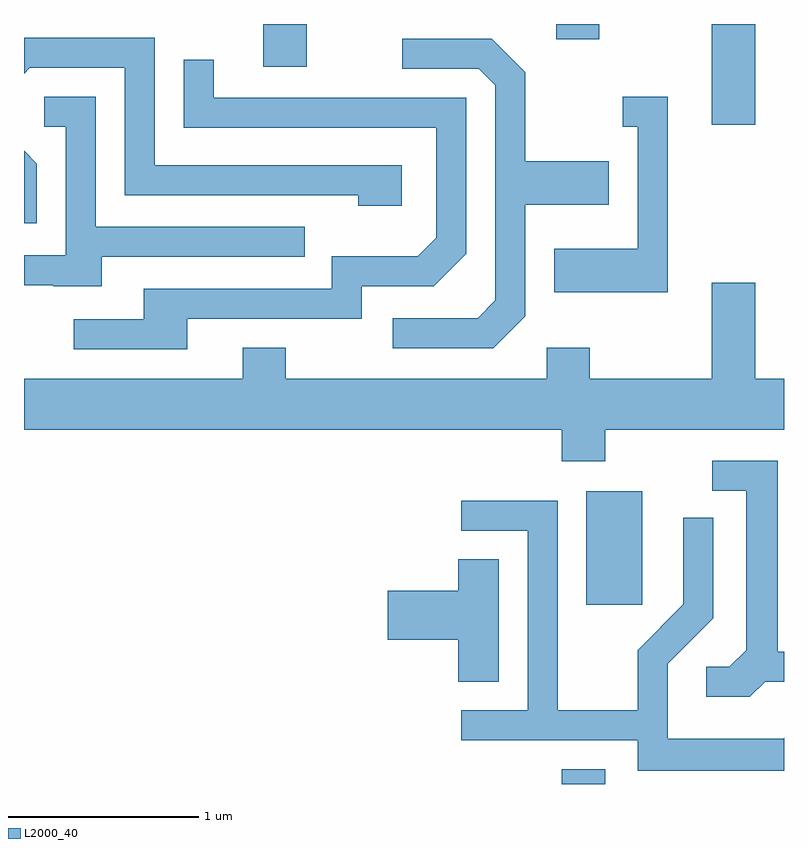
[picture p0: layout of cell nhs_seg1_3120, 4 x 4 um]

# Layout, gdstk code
import gdstk
lib = gdstk.Library(unit=1e-6, precision=1e-09)
def R(c, l, rs):  # rectangles x0, y0, x1, y1
    for r in rs: c.add(gdstk.rectangle(r[:2], r[2:], *l))
def P(c, l, *ps):  # polygons
    for p in ps: c.add(gdstk.Polygon(p, *l))
L2000_40 = (2000, 40)

nhs_seg1_3120 = lib.new_cell('nhs_seg1_3120')
R(nhs_seg1_3120, L2000_40, [(282.441,897.712,282.669,897.789), (282.571,898.656,282.864,899.254), (283.231,901.181,283.459,901.712), (280.871,901.486,281.099,901.712), (282.411,901.631,282.639,901.712)])
P(nhs_seg1_3120, L2000_40, [(281.599,900.969),(280.299,900.969),(280.299,901.639),(279.611,901.639),(279.611,901.45),(279.642,901.481),(280.141,901.481),(280.141,900.811),(281.371,900.811),(281.371,900.756),(281.599,900.756)],
  [(282.249,900.174),(282.249,900.761),(282.689,900.761),(282.689,900.989),(282.249,900.989),(282.249,901.457),(282.072,901.634),(281.603,901.634),(281.603,901.476),(282.004,901.476),(282.091,901.389),(282.091,900.257),(281.999,900.164),(281.553,900.164),(281.553,900.006),(282.082,900.006)],
  [(280.469,900.161),(281.389,900.161),(281.389,900.331),(281.767,900.331),(281.939,900.504),(281.939,901.324),(280.609,901.324),(280.609,901.523),(280.451,901.523),(280.451,901.166),(281.781,901.166),(281.781,900.587),(281.684,900.489),(281.231,900.489),(281.231,900.319),(280.241,900.319),(280.241,900.159),(279.873,900.159),(279.873,900.001),(280.469,900.001)],
  [(280.019,900.486),(281.088,900.486),(281.088,900.644),(279.989,900.644),(279.989,901.329),(279.718,901.329),(279.718,901.171),(279.831,901.171),(279.831,900.494),(279.611,900.494),(279.611,900.336),(279.765,900.336),(279.765,900.331),(280.019,900.331)],
  [(282.999,901.329),(282.763,901.329),(282.763,901.171),(282.841,901.171),(282.841,900.529),(282.401,900.529),(282.401,900.301),(282.999,900.301)],
  [(279.679,900.977),(279.611,901.045),(279.611,900.663),(279.679,900.663)],
  [(282.669,899.576),(283.611,899.576),(283.611,899.844),(283.459,899.844),(283.459,900.349),(283.231,900.349),(283.231,899.844),(282.589,899.844),(282.589,900.009),(282.361,900.009),(282.361,899.844),(280.989,899.844),(280.989,900.009),(280.761,900.009),(280.761,899.844),(279.611,899.844),(279.611,899.576),(282.441,899.576),(282.441,899.411),(282.669,899.411)],
  [(283.512,898.251),(283.611,898.251),(283.611,898.409),(283.579,898.409),(283.579,899.414),(283.233,899.414),(283.233,899.256),(283.411,899.256),(283.411,898.417),(283.324,898.329),(283.203,898.329),(283.203,898.171),(283.432,898.171)],
  [(283.611,897.956),(283.604,897.949),(282.999,897.949),(282.999,898.344),(283.239,898.584),(283.239,899.113),(283.081,899.113),(283.081,898.657),(282.841,898.417),(282.841,898.099),(282.419,898.099),(282.419,899.204),(281.913,899.204),(281.913,899.046),(282.261,899.046),(282.261,898.099),(281.913,898.099),(281.913,897.941),(282.841,897.941),(282.841,897.781),(283.611,897.781)],
  [(282.109,898.894),(281.896,898.894),(281.896,898.729),(281.526,898.729),(281.526,898.471),(281.896,898.471),(281.896,898.251),(282.109,898.251)])

lib.write_gds('nhs_seg1_3120.gds')
